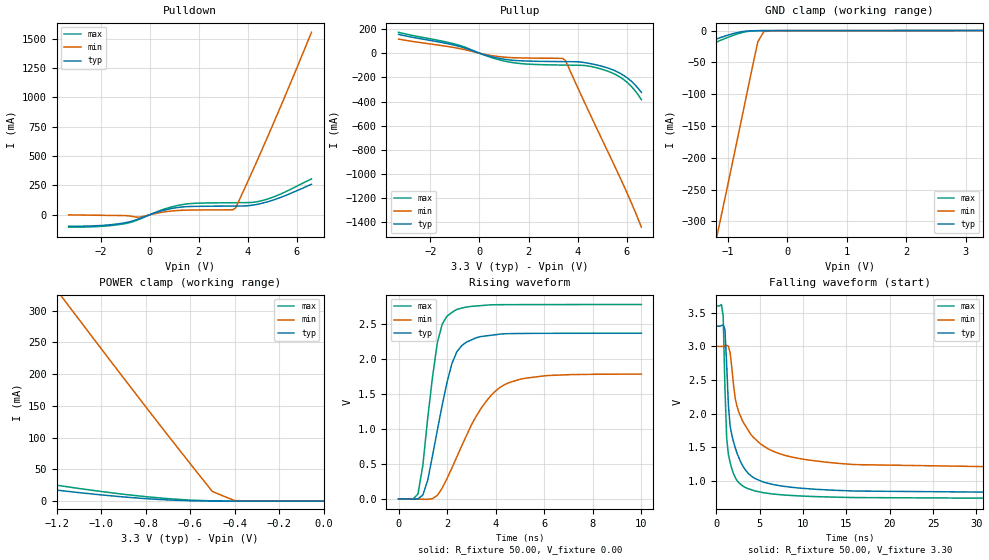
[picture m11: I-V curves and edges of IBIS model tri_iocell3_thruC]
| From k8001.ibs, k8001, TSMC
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|   Model tri_iocell3_thruC
[Model]   tri_iocell3_thruC
Model_type   I/O
Polarity   Non-Inverting
Enable   Active-Low
Vinl =   0.80V
Vinh =   2.00V
Vmeas =  1.50V
C_comp   2.79e-12F   2.92e-12F   2.70e-12F
[Temperature Range]   25   125   0
[Voltage Range]   3.30V   3.00V   3.60V
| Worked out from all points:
|   slope of the pulldown table from 0 to 0.495 V, typ, clamps not added: 14.5 ohm
|   slope of the pullup table from 0 to 0.495 V, typ, clamps not added: 16.8 ohm
|   GND clamp passes 1 mA (typ) near -0.72 V on its own axis
|   POWER clamp passes 1 mA (typ) near -0.62 V on its own axis
|   rising waveform, R_fixture 50.00, V_fixture 0.00: 20-80 % time 850ps typ, 1.6ns min, 570ps max; typ from 0 V to 2.37 V
|   falling waveform, R_fixture 50.00, V_fixture 3.30: 20-80 % time 1.57ns typ, 3.57ns min, 674ps max; typ from 3.3 V to 0.807 V
[POWER_clamp]
| voltage   I(typ)   I(min)   I(max)
-3.3V     142mA      1.34A      171.8mA
-2.8V     106.6mA    1.095A     131.5mA
-2.2V     68.92mA    805.4mA    87.82mA
-1.7V     41.04mA    567.3mA    54.53mA
-1.2V     17.5mA     332.7mA    25.18mA
-1.1V     13.53mA    286.4mA    20.05mA
-800mV    4.029mA    148.9mA    7.158mA
-600mV    687.8uA    59.33mA    1.71mA
-500mV    221.4uA    15.25mA    462.5uA
-400mV    152.3uA    988.8uA    180.4uA
0V        132.1uA    120.1uA    144.1uA
[GND_clamp]
| voltage   I(typ)   I(min)   I(max)
-3.3V     -87.33mA   -1.184A    -99.61mA
-2.4V     -57.17mA   -832.7mA   -67.66mA
-1.2V     -13.23mA   -328mA     -18.1mA
-1.1V     -9.954mA   -284.1mA   -14.15mA
-800mV    -2.098mA   -150.9mA   -3.891mA
-700mV    -752.3uA   -106.1mA   -1.652mA
-500mV    -47.68uA   -17.6mA    -70.23uA
-400mV    -17.52uA   -1.612mA   -19.91uA
-200mV    -8.157uA   -13.69uA   -8.173uA
3.3V      132.1uA    178.9uA    132.1uA
[Pullup]
| voltage   I(typ)   I(min)   I(max)
-3.3V     155.9mA    116.7mA    172.8mA
-1V       65.31mA    45.32mA    75.49mA
300mV     -18.87mA   -12.8mA    -23.48mA
1.1V      -52.59mA   -34.14mA   -68.56mA
1.9V      -64.63mA   -39.95mA   -89.43mA
3.3V      -69.53mA   -42.71mA   -98.07mA
3.5V      -69.9mA    -59.56mA   -98.65mA
4.4V      -81.69mA   -458.1mA   -104.9mA
5.4V      -135mA     -886.5mA   -162.7mA
5.8V      -174.1mA   -1.06A     -207mA
6.1V      -216.5mA   -1.195A    -256.2mA
6.6V      -324.8mA   -1.44A     -385.2mA
[Pulldown]
| voltage   I(typ)   I(min)   I(max)
-3.3V     -97.2mA    -1.056mA   -105.1mA
-2V       -91.17mA   -4.221mA   -98.61mA
-1V       -67.67mA   -6.83mA    -75mA
-400mV    -31.36mA   -19.78mA   -36.42mA
600mV     39.98mA    24.54mA    48.89mA
1.4V      67.82mA    39.27mA    89.06mA
3.4V      74.45mA    43.46mA    103mA
3.5V      74.56mA    56.96mA    103.1mA
4.2V      82.27mA    375mA      106mA
4.8V      110.3mA    658.8mA    133.8mA
5.4V      152.5mA    950.6mA    182.4mA
6.6V      259.9mA    1.554A     305.4mA
[Ramp]
| variable   typ   min   max
dV/dt_r   0.01/1.80e-09   0.01/4.58e-10   0.01/5.20e-10
dV/dt_f   1.51/1.55e-09   1.11/3.50e-09   1.73/6.39e-10
R_load = 50.00
[Rising Waveform]
R_fixture = 50.00
V_fixture = 0.00
V_fixture_min = 0.00
V_fixture_max = 0.00
| time   V(typ)   V(min)   V(max)
0s        0V         0V         0V
800ps     739.8uV    -2.955mV   69.55mV
1ns       53.66mV    -6.37mV    474.6mV
1.2ns     263.9mV    -6.96mV    1.151V
1.6ns     986mV      49.53mV    2.239V
2ns       1.672V     292.3mV    2.615V
2.6ns     2.191V     756mV      2.729V
3.4ns     2.322V     1.295V     2.765V
4.4ns     2.362V     1.64V      2.778V
10ns      2.37V      1.784V     2.781V
[Falling Waveform]
R_fixture = 50.00
V_fixture = 3.30
V_fixture_min = 3.00
V_fixture_max = 3.60
| time   V(typ)   V(min)   V(max)
0s        3.3V       3V         3.6V
800ps     3.317V     2.999V     3.44V
1ns       3.251V     3.011V     2.382V
1.2ns     2.724V     3.014V     1.64V
1.4ns     2.127V     3.003V     1.395V
2.2ns     1.49V      2.217V     1.052V
3.6ns     1.128V     1.772V     892.3mV
7ns       940.5mV    1.421V     804.5mV
14.4ns    861.6mV    1.261V     761.4mV
60ns      807mV      1.159V     731.1mV
